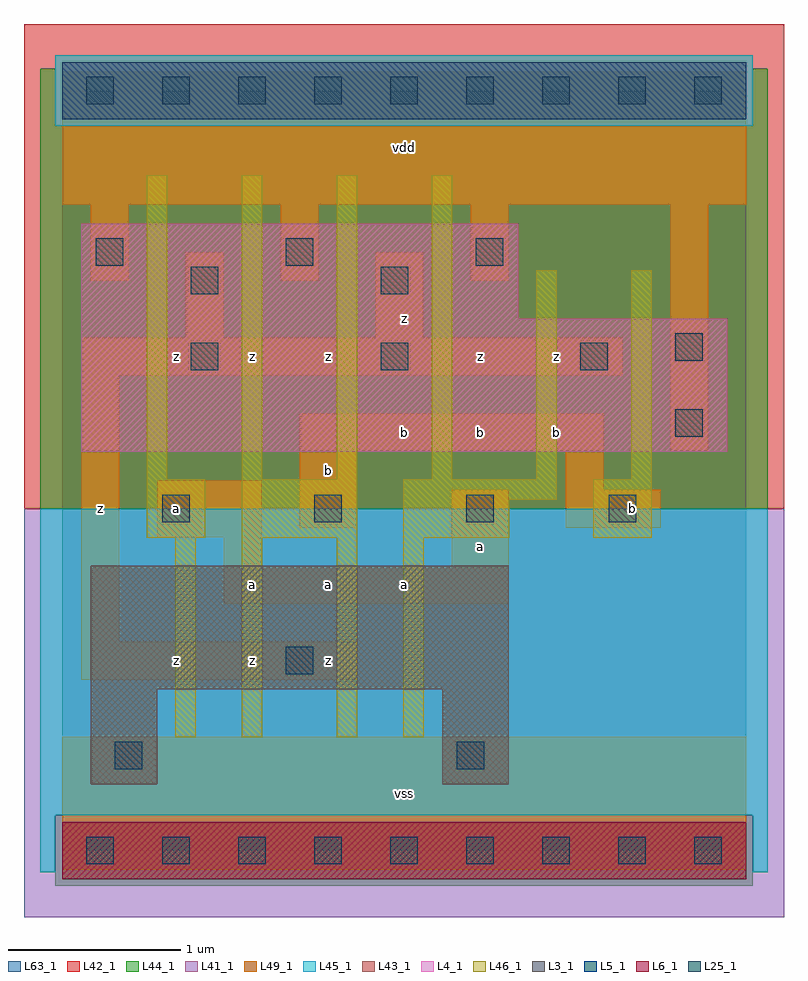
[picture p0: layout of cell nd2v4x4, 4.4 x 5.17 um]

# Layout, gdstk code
import gdstk
lib = gdstk.Library(unit=1e-6, precision=1e-09)
def R(c, l, rs):  # rectangles x0, y0, x1, y1
    for r in rs: c.add(gdstk.rectangle(r[:2], r[2:], *l))
def A(c, l, x, y, w, h, nx, ny, dx, dy):  # array of equal rectangles
    R(c, l, [(x+i*dx, y+j*dy, x+i*dx+w, y+j*dy+h) for i in range(nx) for j in range(ny)])
L3_1 = (3, 1)
L4_1 = (4, 1)
L5_1 = (5, 1)
L6_1 = (6, 1)
L25_1 = (25, 1)
L41_1 = (41, 1)
L42_1 = (42, 1)
L43_1 = (43, 1)
L44_1 = (44, 1)
L45_1 = (45, 1)
L46_1 = (46, 1)
L49_1 = (49, 1)
L63_1 = (63, 1)

nd2v4x4 = lib.new_cell('nd2v4x4')
R(nd2v4x4, L3_1, [(0.165,0.385,0.55,0.935), (2.2,0.385,2.585,0.935), (0.165,0.935,2.585,1.65)])
R(nd2v4x4, L4_1, [(0.11,2.31,3.85,3.08), (0.11,3.08,2.64,3.63)])
R(nd2v4x4, L5_1, [(0,4.235,3.96,4.565)])
R(nd2v4x4, L6_1, [(0,-0.165,3.96,0.165)])
A(nd2v4x4, L25_1, 0.14, -0.08, 0.16, 0.16, 9, 2, 0.44, 4.4)
A(nd2v4x4, L25_1, 0.58, 1.9, 0.16, 0.16, 3, 1, 0.88, 0)
A(nd2v4x4, L25_1, 0.195, 3.385, 0.16, 0.16, 3, 1, 1.1, 0)
R(nd2v4x4, L25_1, [(0.305,0.47,0.465,0.63), (2.285,0.47,2.445,0.63), (1.295,1.02,1.455,1.18), (3.165,1.9,3.325,2.06), (3.55,2.395,3.71,2.555), (0.745,2.78,0.905,2.94), (1.845,2.78,2.005,2.94), (3,2.78,3.16,2.94), (3.55,2.835,3.71,2.995), (0.745,3.22,0.905,3.38), (1.845,3.22,2.005,3.38)])
R(nd2v4x4, L41_1, [(-0.22,-0.385,4.18,1.98)])
R(nd2v4x4, L42_1, [(-0.22,1.98,4.18,4.785)])
R(nd2v4x4, L43_1, [(0,-0.165,3.96,0.165), (0.165,0.385,0.55,0.935), (2.2,0.385,2.585,0.935), (0.165,0.935,2.585,1.65), (0.11,2.31,3.85,3.08), (0.11,3.08,2.64,3.63), (0,4.235,3.96,4.565)])
R(nd2v4x4, L44_1, [(-0.04,-0.205,4,0.205), (-0.125,1.98,4.085,4.195), (-0.125,4.195,-0.04,4.525), (4,4.195,4.085,4.525)])
R(nd2v4x4, L45_1, [(-0.125,-0.125,-0.04,0.205), (4,-0.125,4.085,0.205), (-0.125,0.205,4.085,1.98), (-0.04,4.195,4,4.605)])
A(nd2v4x4, L46_1, 0.49, 2.15, 0.12, 1.76, 4, 1, 0.55, 0)
R(nd2v4x4, L46_1, [(0.655,0.655,0.775,1.81), (1.04,0.655,1.16,1.81), (1.59,0.655,1.71,1.81), (1.975,0.655,2.095,1.81), (0.49,1.81,0.83,2.15), (1.04,1.81,1.71,2.15), (1.975,1.81,2.59,2.03), (3.075,1.81,3.415,2.15), (1.975,2.03,2.865,2.15), (2.745,2.15,2.865,3.36), (3.295,2.15,3.415,3.36)])
A(nd2v4x4, L49_1, 0.165, 3.3, 0.22, 0.44, 3, 1, 1.1, 0)
R(nd2v4x4, L49_1, [(0,-0.11,3.96,0.66), (0.11,0.99,1.705,1.21), (0.11,1.21,0.33,2.75), (0.935,1.43,2.585,1.65), (0.935,1.65,1.155,1.815), (2.255,1.65,2.585,2.09), (0.55,1.815,1.155,2.145), (1.375,1.87,1.705,2.31), (2.915,1.87,3.465,2.09), (2.915,2.09,3.135,2.31), (1.375,2.31,3.135,2.53), (3.52,2.31,3.74,3.74), (0.11,2.75,3.245,2.97), (0.715,2.97,0.935,3.465), (1.815,2.97,2.09,3.465), (0,3.74,3.96,4.51)])
R(nd2v4x4, L63_1, [(0,0,3.96,4.4)])
nd2v4x4.add(gdstk.Label('z', (0.22,1.98), layer=49, texttype=1))
nd2v4x4.add(gdstk.Label('z', (0.66,1.1), layer=49, texttype=1))
nd2v4x4.add(gdstk.Label('z', (1.1,1.1), layer=49, texttype=1))
nd2v4x4.add(gdstk.Label('a', (1.1,1.54), layer=49, texttype=1))
nd2v4x4.add(gdstk.Label('a', (0.66,1.98), layer=49, texttype=1))
nd2v4x4.add(gdstk.Label('z', (1.1,2.86), layer=49, texttype=1))
nd2v4x4.add(gdstk.Label('z', (0.66,2.86), layer=49, texttype=1))
nd2v4x4.add(gdstk.Label('vss', (1.98,0.33), layer=49, texttype=1))
nd2v4x4.add(gdstk.Label('z', (1.54,1.1), layer=49, texttype=1))
nd2v4x4.add(gdstk.Label('a', (1.54,1.54), layer=49, texttype=1))
nd2v4x4.add(gdstk.Label('a', (1.98,1.54), layer=49, texttype=1))
nd2v4x4.add(gdstk.Label('b', (1.54,2.2), layer=49, texttype=1))
nd2v4x4.add(gdstk.Label('b', (1.98,2.42), layer=49, texttype=1))
nd2v4x4.add(gdstk.Label('z', (1.54,2.86), layer=49, texttype=1))
nd2v4x4.add(gdstk.Label('z', (1.98,3.08), layer=49, texttype=1))
nd2v4x4.add(gdstk.Label('vdd', (1.98,4.07), layer=49, texttype=1))
nd2v4x4.add(gdstk.Label('a', (2.42,1.76), layer=49, texttype=1))
nd2v4x4.add(gdstk.Label('b', (2.42,2.42), layer=49, texttype=1))
nd2v4x4.add(gdstk.Label('b', (2.86,2.42), layer=49, texttype=1))
nd2v4x4.add(gdstk.Label('z', (2.86,2.86), layer=49, texttype=1))
nd2v4x4.add(gdstk.Label('z', (2.42,2.86), layer=49, texttype=1))
nd2v4x4.add(gdstk.Label('b', (3.3,1.98), layer=49, texttype=1))

lib.write_gds('nd2v4x4.gds')
